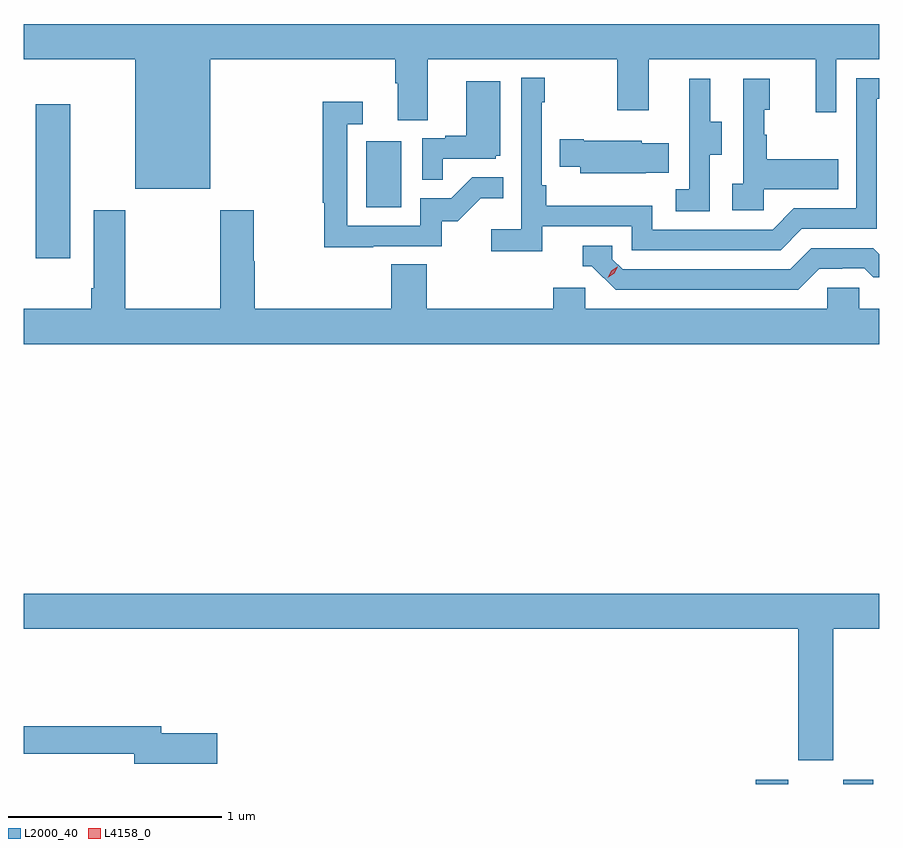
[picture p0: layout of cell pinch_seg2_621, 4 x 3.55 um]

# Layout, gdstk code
import gdstk
lib = gdstk.Library(unit=1e-6, precision=1e-09)
def R(c, l, rs):  # rectangles x0, y0, x1, y1
    for r in rs: c.add(gdstk.rectangle(r[:2], r[2:], *l))
def P(c, l, *ps):  # polygons
    for p in ps: c.add(gdstk.Polygon(p, *l))
L2000_40 = (2000, 40)
L4158_0 = (4158, 0)

pinch_seg2_621 = lib.new_cell('pinch_seg2_621')
R(pinch_seg2_621, L2000_40, [(1062.023,586.971,1062.175,586.99), (1062.431,586.971,1062.571,586.99), (1058.657,589.428,1058.818,590.149), (1060.202,589.668,1060.366,589.975)])
P(pinch_seg2_621, L2000_40, [(1059.472,590.36),(1060.337,590.36),(1060.337,590.248),(1060.349,590.248),(1060.349,590.074),(1060.489,590.074),(1060.489,590.36),(1061.374,590.36),(1061.374,590.121),(1061.521,590.121),(1061.521,590.36),(1062.302,590.36),(1062.302,590.112),(1062.399,590.112),(1062.399,590.36),(1062.6,590.36),(1062.6,590.524),(1058.6,590.524),(1058.6,590.36),(1059.122,590.36),(1059.122,589.754),(1059.472,589.754)],
  [(1061.024,589.578),(1061.442,589.578),(1061.442,589.467),(1062.139,589.467),(1062.238,589.566),(1062.588,589.566),(1062.588,590.175),(1062.6,590.175),(1062.6,590.271),(1062.492,590.271),(1062.492,589.662),(1062.201,589.662),(1062.102,589.563),(1061.538,589.563),(1061.538,589.675),(1061.042,589.675),(1061.042,589.771),(1061.022,589.771),(1061.022,590.159),(1061.035,590.159),(1061.035,590.272),(1060.926,590.272),(1060.926,589.564),(1060.785,589.564),(1060.785,589.462),(1061.024,589.462)],
  [(1062.06,589.751),(1062.407,589.751),(1062.407,589.891),(1062.073,589.891),(1062.073,590.006),(1062.063,590.006),(1062.063,590.124),(1062.088,590.124),(1062.088,590.269),(1061.964,590.269),(1061.964,589.778),(1061.913,589.778),(1061.913,589.653),(1062.06,589.653)],
  [(1061.808,589.912),(1061.863,589.912),(1061.863,590.067),(1061.809,590.067),(1061.809,590.269),(1061.711,590.269),(1061.711,590.055),(1061.712,590.055),(1061.712,589.751),(1061.649,589.751),(1061.649,589.648),(1061.808,589.648)],
  [(1060.559,589.893),(1060.806,589.893),(1060.806,589.908),(1060.828,589.908),(1060.828,590.257),(1060.67,590.257),(1060.67,590.002),(1060.571,590.002),(1060.571,589.989),(1060.464,589.989),(1060.464,589.795),(1060.559,589.795)],
  [(1060.235,589.485),(1060.554,589.485),(1060.554,589.602),(1060.63,589.602),(1060.737,589.709),(1060.841,589.709),(1060.841,589.808),(1060.697,589.808),(1060.599,589.71),(1060.455,589.71),(1060.455,589.581),(1060.113,589.581),(1060.113,590.055),(1060.186,590.055),(1060.186,590.161),(1059.997,590.161),(1059.997,589.688),(1060.005,589.688),(1060.005,589.48),(1060.235,589.48)],
  [(1061.507,589.829),(1061.615,589.829),(1061.615,589.966),(1061.49,589.966),(1061.49,589.978),(1061.218,589.978),(1061.218,589.986),(1061.107,589.986),(1061.107,589.856),(1061.201,589.856),(1061.201,589.826),(1061.507,589.826)],
  [(1062.6,589.192),(1062.507,589.192),(1062.507,589.29),(1062.357,589.29),(1062.357,589.192),(1061.226,589.192),(1061.226,589.29),(1061.075,589.29),(1061.075,589.192),(1060.484,589.192),(1060.484,589.4),(1060.319,589.4),(1060.319,589.192),(1059.68,589.192),(1059.68,589.415),(1059.675,589.415),(1059.675,589.654),(1059.52,589.654),(1059.52,589.192),(1059.075,589.192),(1059.075,589.654),(1058.927,589.654),(1058.927,589.288),(1058.915,589.288),(1058.915,589.192),(1058.6,589.192),(1058.6,589.028),(1062.6,589.028)],
  [(1062.319,589.38),(1062.426,589.38),(1062.426,589.383),(1062.529,589.383),(1062.571,589.341),(1062.6,589.341),(1062.6,589.447),(1062.571,589.476),(1062.282,589.476),(1062.183,589.377),(1061.4,589.377),(1061.352,589.425),(1061.352,589.488),(1061.213,589.488),(1061.213,589.392),(1061.256,589.392),(1061.367,589.281),(1062.22,589.281)],
  [(1062.385,587.696),(1062.6,587.696),(1062.6,587.86),(1058.6,587.86),(1058.6,587.696),(1062.221,587.696),(1062.221,587.082),(1062.385,587.082)],
  [(1059.505,587.208),(1059.244,587.208),(1059.244,587.242),(1058.6,587.242),(1058.6,587.113),(1059.116,587.113),(1059.116,587.066),(1059.505,587.066)])
P(pinch_seg2_621, L4158_0, [(1061.33,589.338),(1061.33,589.338),(1061.346,589.371),(1061.376,589.39),(1061.377,589.39),(1061.377,589.39),(1061.361,589.358),(1061.33,589.338)])

lib.write_gds('pinch_seg2_621.gds')
